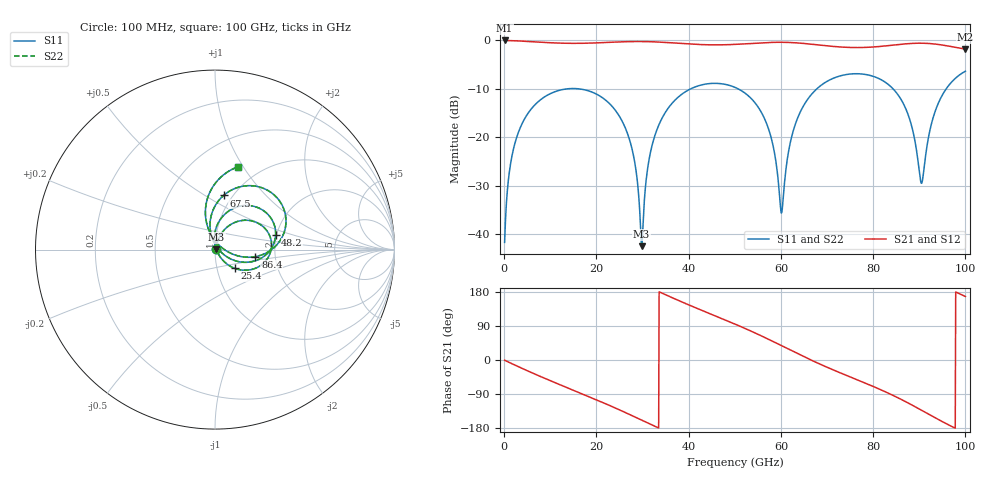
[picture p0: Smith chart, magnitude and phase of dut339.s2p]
! Touchstone file exported from HFSS 2026.1.0
!  File:  C:/ffzhzh/LocalFiles/Ansys_Project_Files/temp_train_TSV_RDL_339_1783705996_45164.aedt
!  Generated:  01:58:32 AM Jul 11, 2026
!  Design:  TSV_RDL
!  Project:  temp_train_TSV_RDL_339_1783705996_45164
! Variables:
!  h_bsmrdl = 4.57um
!  h_ox = 20um
!  h_rdl = 5um
!  h_sub = 65.72um
!  h_tmrdl = 4.85um
!  h_tsv = 65.72um
!  h_via = 3um
!  l_bsmrdl = 170.61um
!  l_sub = 1587.01um
!  l_tmrdl = 147.09um
!  m_sub = 200um
!  pitch = 42.64um
!  r_tsv = 14.36um
!  s_tmrdl = 10um
!  w_bsmrdl = 16.27um
!  w_sub = 500um
!  w_tmrdl = 12.67um
!  x_tsv_center1 = 153.425um
!  x_tsv_center2 = 340.305um
!  x_tsv_center3 = 500.065um
!  x_tsv_center4 = 686.945um
!  x_tsv_center5 = 846.705um
!  x_tsv_center6 = 1033.585um
# GHz S MA R 50.000000
! Terminal data exported
! Port[1] = TM_RDL1_1_T1
! Port[2] = TM_RDL5_1_T1
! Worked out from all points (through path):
!   1000 points, 100 MHz to 100 GHz, reference 50 ohm
!   highest |S21| = -0.06 dB at 100 MHz (marker M1); lowest = -1.9 dB at 100 GHz (marker M2)
!   group delay of S21, straight-line fit = 15.2 ps
!   lowest |S11| = -42.5 dB at 29.8 GHz (marker M3), VSWR 1.02, Z = 50.7 + j0.167 ohm
!   |S11| at or under -10 dB: start of sweep to 14.26 GHz; 15.61 GHz to 40.55 GHz (24.93 GHz wide, 88.8 % of centre); 50.63 GHz to 67.85 GHz (17.22 GHz wide, 29.1 % of centre) (the widest 3 of 4)
!   |S22| runs from -42.6 to -6.4 dB; largest |S21 - S12| = 1.7e-14
!   S11 on the Smith chart (normalised r, x): 100 MHz: 1.01, +0.01; 25.4 GHz: 1.22, -0.26; 48.2 GHz: 1.97, +0.37; 67.5 GHz: 0.91, +0.60; 86.4 GHz: 1.57, -0.13; 100 GHz: 0.79, +0.95
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0.1  0.008193 29.9  0.9929 -0.6  0.9929 -0.6  0.008193 29.9
! Gamma 0 0 0 0
! Port Impedance 50 0 50 0
1.6  0.06047 71.5  0.9885 -9.2  0.9885 -9.2  0.06047 71.5
4.4  0.1533 59.9  0.9742 -24.9  0.9742 -24.9  0.1533 59.9
16.8  0.3116 -1.0  0.9282 -88.7  0.9282 -88.7  0.3116 -1.0
25.4  0.1515 -43.6  0.9608 -133.8  0.9608 -133.8  0.1514 -43.6
28.1  0.0624 -54.4  0.9677 -148.9  0.9677 -148.9  0.06235 -54.4
29.8  0.007482 12.7  0.9679 -158.5  0.9679 -158.5  0.007374 12.9
31.4  0.05799 93.1  0.9647 -167.6  0.9647 -167.6  0.05801 93.2
33.4  0.1286 86.1  0.9564 -178.9  0.9564 -178.9  0.1286 86.1
39.4  0.2954 56.2  0.9171 148.6  0.9171 148.6  0.2955 56.2
48.2  0.3476 13.6  0.8974 104.2  0.8974 104.2  0.3476 13.7
50.1  0.3249 4.4  0.9047 94.5  0.9047 94.5  0.3249 4.4
56.8  0.1417 -27.7  0.9439 57.7  0.9439 57.7  0.1417 -27.6
60.1  0.01642 32.1  0.9507 38.0  0.9507 38.0  0.01658 32.2
62.6  0.1125 103.5  0.9426 23.0  0.9426 23.0  0.1125 103.4
66.7  0.2781 85.1  0.9077 -1.0  0.9077 -1.0  0.2781 85.1
67.5  0.3052 81.1  0.8992 -5.5  0.8992 -5.5  0.3051 81.1
83.4  0.3455 4.4  0.8792 -88.1  0.8792 -88.1  0.3453 4.4
86.4  0.2284 -9.9  0.9101 -105.9  0.9101 -105.9  0.2283 -9.8
90.5  0.03329 47.9  0.9302 -132.7  0.9302 -132.7  0.03369 48.3
94  0.2161 104.4  0.9046 -156.1  0.9046 -156.1  0.2164 104.3
100  0.4782 74.5  0.808 167.6  0.808 167.6  0.4784 74.5
